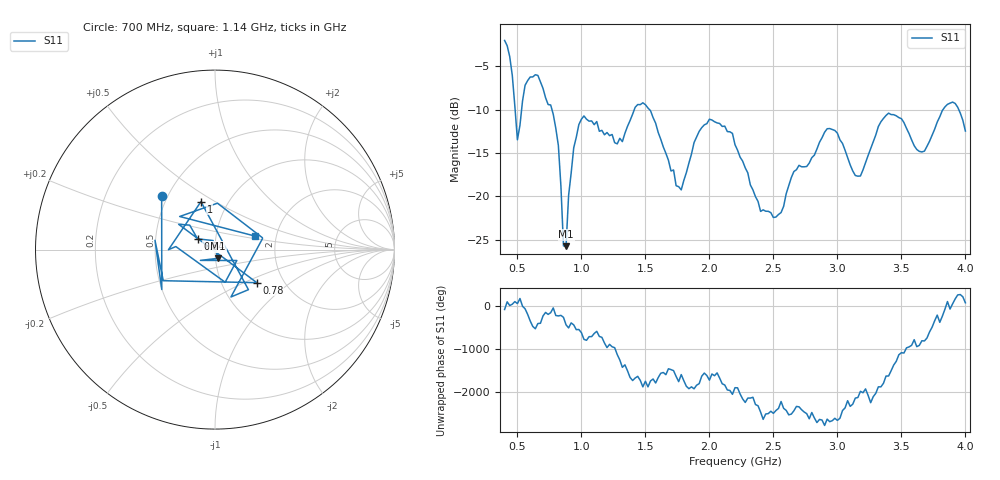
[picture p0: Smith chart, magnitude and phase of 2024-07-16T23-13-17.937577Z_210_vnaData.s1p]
!Created with skrf (http://scikit-rf.org).
# Hz S RI R 50.0
!freq ReS11 ImS11
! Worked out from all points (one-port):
!   181 points, 400 MHz to 4 GHz, reference 50 ohm
!   lowest |S11| = -25.8 dB at 880 MHz (marker M1), VSWR 1.11, Z = 51.4 - j5.02 ohm
!   |S11| at or under -10 dB: 770 MHz to 1.413 GHz (643.3 MHz wide, 58.9 % of centre); 1.532 GHz to 3.825 GHz (2.293 GHz wide, 85.6 % of centre); 3.948 GHz to end of sweep (the widest 3 of 4)
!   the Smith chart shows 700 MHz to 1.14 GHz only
!   S11 on the Smith chart (normalised r, x): 700 MHz: 0.47, +0.33; 780 MHz: 1.47, -0.59; 840 MHz: 0.82, +0.10; 1 GHz: 0.75, +0.43; 1.14 GHz: 1.56, +0.25
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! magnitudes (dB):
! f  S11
! 400 MHz  -2.0
! 460 MHz  -6.0
! 500 MHz  -13.5
! 560 MHz  -7.2
! 700 MHz  -7.5
! 780 MHz  -10.5
! 840 MHz  -18.9
! 860 MHz  -25.7
! 880 MHz  -25.8
! 940 MHz  -14.4
! 1 GHz  -11.1
! 1.14 GHz  -12.5
! 1.3 GHz  -13.3
! 1.5 GHz  -9.4
! 1.76 GHz  -18.9
! 2 GHz  -11.1
! 2.2 GHz  -14.0
! 2.4 GHz  -21.8
! 2.5 GHz  -22.5
! 2.66 GHz  -17.1
! 2.92 GHz  -12.2
! 3.1 GHz  -16.4
! 3.18 GHz  -17.7
! 3.4 GHz  -10.4
! 3.56 GHz  -12.8
! 3.68 GHz  -14.8
! 3.9 GHz  -9.1
! 4 GHz  -12.5
